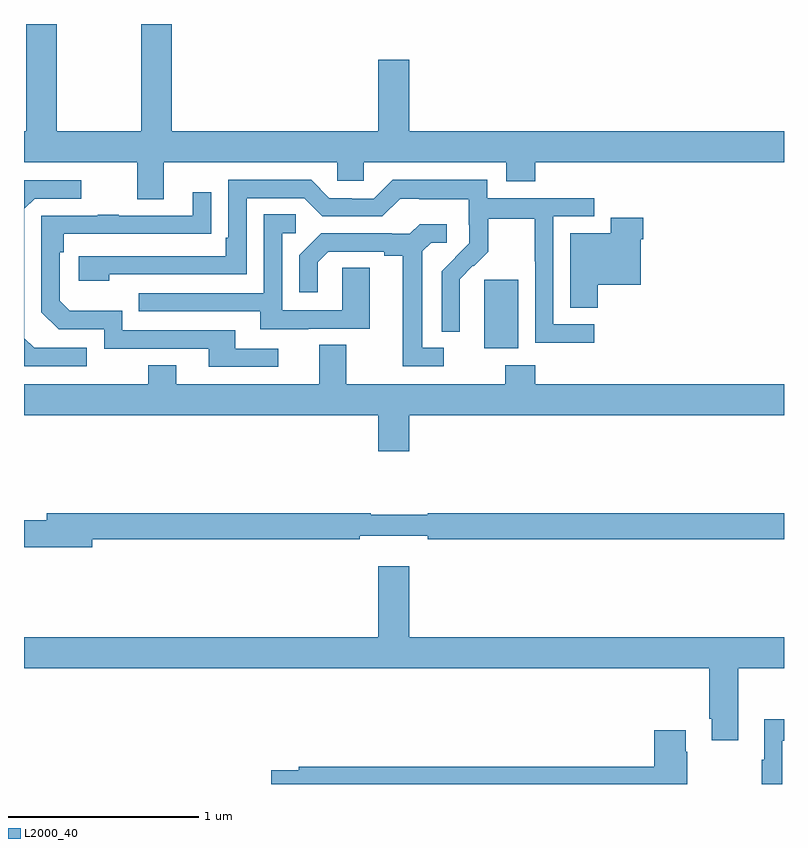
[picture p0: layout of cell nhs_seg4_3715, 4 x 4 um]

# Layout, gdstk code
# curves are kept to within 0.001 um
import gdstk
lib = gdstk.Library(unit=1e-6, precision=1e-09)
def R(c, l, rs):  # rectangles x0, y0, x1, y1
    for r in rs: c.add(gdstk.rectangle(r[:2], r[2:], *l))
def P(c, l, *ps):  # polygons
    for p in ps: c.add(gdstk.Polygon(p, *l))
L2000_40 = (2000, 40)

nhs_seg4_3715 = lib.new_cell('nhs_seg4_3715')
R(nhs_seg4_3715, L2000_40, [(309.422,777.194,309.601,777.555)])
P(nhs_seg4_3715, L2000_40, [(307.735,778.172),(308.649,778.172),(308.649,778.074),(308.787,778.074),(308.787,778.172),(309.539,778.172),(309.539,778.073),(309.692,778.073),(309.692,778.172),(311,778.172),(311,778.336),(309.028,778.336),(309.028,778.711),(308.864,778.711),(308.864,778.336),(307.778,778.336),(307.778,778.9),(307.618,778.9),(307.618,778.336),(307.173,778.336),(307.173,778.9),(307.013,778.9),(307.013,778.336),(307,778.336),(307,778.172),(307.595,778.172),(307.595,777.978),(307.735,777.978)],
  [(310,777.321),(309.786,777.321),(309.786,777.888),(310,777.888),(310,777.984),(309.438,777.984),(309.438,778.081),(308.941,778.081),(308.841,777.981),(308.726,777.981),(308.726,777.984),(308.607,777.984),(308.511,778.08),(308.076,778.08),(308.076,777.775),(308.063,777.775),(308.063,777.678),(307.287,777.678),(307.287,777.548),(307.448,777.548),(307.448,777.582),(308.172,777.582),(308.172,777.984),(308.475,777.984),(308.571,777.888),(308.886,777.888),(308.979,777.981),(309.079,777.981),(309.079,777.977),(309.342,777.977),(309.342,777.843),(309.344,777.843),(309.344,777.746),(309.198,777.598),(309.198,777.28),(309.294,777.28),(309.293,777.557),(309.363,777.627),(309.366,777.624),(309.443,777.701),(309.443,777.876),(309.688,777.876),(309.688,777.652),(309.69,777.652),(309.69,777.223),(310,777.223)],
  [(307.33,777.195),(307.053,777.195),(307.002,777.246),(307.002,777.927),(307.056,777.981),(307.3,777.981),(307.3,778.077),(307,778.077),(307,777.099),(307.33,777.099)],
  [(308.338,777.192),(308.113,777.192),(308.113,777.288),(307.518,777.288),(307.518,777.391),(307.241,777.391),(307.188,777.444),(307.188,777.698),(307.208,777.698),(307.208,777.795),(307.985,777.796),(307.985,778.015),(307.889,778.015),(307.889,777.891),(307.499,777.891),(307.499,777.896),(307.387,777.896),(307.387,777.891),(307.092,777.891),(307.092,777.384),(307.182,777.294),(307.422,777.294),(307.422,777.192),(307.973,777.192),(307.973,777.096),(308.338,777.096)],
  [(308.497,777.297),(308.821,777.297),(308.821,777.617),(308.676,777.617),(308.676,777.393),(308.358,777.393),(308.358,777.798),(308.431,777.798),(308.431,777.899),(308.262,777.899),(308.262,777.483),(307.603,777.483),(307.603,777.387),(308.243,777.387),(308.243,777.293),(308.497,777.293)],
  [(310.019,777.527),(310.246,777.527),(310.246,777.767),(310.259,777.767),(310.259,777.88),(310.088,777.88),(310.088,777.799),(309.875,777.799),(309.875,777.406),(310.019,777.406)],
  [(309.208,777.195),(309.097,777.195),(309.097,777.703),(309.144,777.75),(309.226,777.75),(309.226,777.847),(309.082,777.847),(309.03,777.795),(308.936,777.795),(308.936,777.798),(308.564,777.798),(308.448,777.682),(308.448,777.489),(308.545,777.489),(308.545,777.645),(308.602,777.702),(308.897,777.702),(308.897,777.68),(308.993,777.68),(308.993,777.099),(309.208,777.099)],
  [(309.028,776.84),(311,776.84),(311,777.004),(309.692,777.004),(309.692,777.103),(309.532,777.103),(309.532,777.004),(308.695,777.004),(308.695,777.212),(308.555,777.212),(308.555,777.004),(307.801,777.004),(307.801,777.103),(307.654,777.103),(307.654,777.004),(307,777.004),(307,776.84),(308.864,776.84),(308.864,776.652),(309.028,776.652)],
  [(307.36,776.188),(308.768,776.188),(308.768,776.207),(309.124,776.207),(309.124,776.188),(311,776.188),(311,776.324),(309.125,776.324),(309.125,776.317),(308.825,776.317),(308.825,776.324),(307.121,776.324),(307.121,776.288),(307,776.288),(307,776.146),(307.36,776.146)],
  [(310.759,775.508),(311,775.508),(311,775.672),(309.028,775.672),(309.028,776.047),(308.864,776.047),(308.864,775.672),(307,775.672),(307,775.508),(310.607,775.508),(310.607,775.243),(310.619,775.243),(310.619,775.131),(310.759,775.131)],
  [(310.992,775.127),(311,775.127),(311,775.24),(310.895,775.24),(310.895,775.027),(310.884,775.027),(310.884,774.9),(310.992,774.9)],
  [(310.491,775.07),(310.483,775.07),(310.483,775.183),(310.316,775.183),(310.316,774.992),(308.446,774.992),(308.446,774.972),(308.3,774.972),(308.3,774.9),(310.491,774.9)])

lib.write_gds('nhs_seg4_3715.gds')
